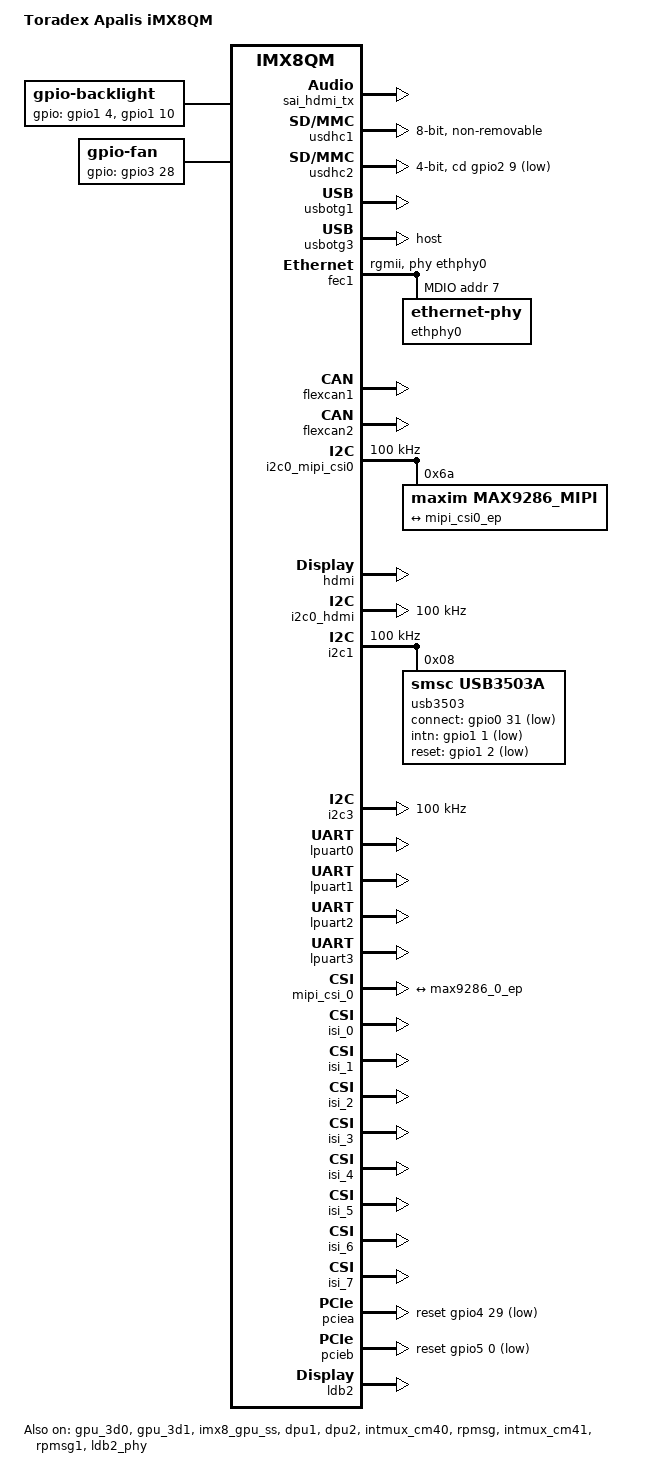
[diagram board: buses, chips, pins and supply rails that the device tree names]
/*
 * Copyright (C) 2016 Freescale Semiconductor, Inc.
 * Copyright 2017 NXP
 *
 * This program is free software; you can redistribute it and/or
 * modify it under the terms of the GNU General Public License
 * as published by the Free Software Foundation; either version 2
 * of the License, or (at your option) any later version.
 *
 * This program is distributed in the hope that it will be useful,
 * but WITHOUT ANY WARRANTY; without even the implied warranty of
 * MERCHANTABILITY or FITNESS FOR A PARTICULAR PURPOSE.  See the
 * GNU General Public License for more details.
 */

/dts-v1/;

#include "fsl-imx8qm.dtsi"

/ {
	model = "Toradex Apalis iMX8QM";
	compatible = "toradex,imx8qm-apalis", "fsl,imx8qm";

	chosen {
		bootargs = "console=ttyLP1,115200 earlycon=lpuart32,0x5a070000,115200";
		stdout-path = &lpuart1;
	};

	backlight: backlight {
		compatible = "gpio-backlight";
		pinctrl-names = "default";
		pinctrl-0 = <&pinctrl_gpio_bl_on>;
		gpios = <&gpio1 4 GPIO_ACTIVE_HIGH>,  /* BKL1_ON */
			<&gpio1 10 GPIO_ACTIVE_HIGH>; /* BKL1_PWM */
		default-on;
		status = "okay";
	};

	reg_usb_host_vbus: regulator-usb-host-vbus {
		compatible = "regulator-fixed";
		pinctrl-names = "default";
		pinctrl-0 = <&pinctrl_usbh_en>;
		regulator-name = "usb_host_vbus";
		regulator-min-microvolt = <5000000>;
		regulator-max-microvolt = <5000000>;
		gpio =  <&gpio4 4 GPIO_ACTIVE_HIGH>;
		enable-active-high;
		regulator-always-on;
		status = "disabled";
	};

	gpio-fan {
		compatible = "gpio-fan";
		pinctrl-names = "default";
		pinctrl-0 = <&pinctrl_gpio8>;
		gpios = <&gpio3 28 GPIO_ACTIVE_HIGH>;
		gpio-fan,speed-map = <	 0 0
				      3000 1>;
	};
};

&sai_hdmi_tx {
	assigned-clocks =<&clk IMX8QM_ACM_HDMI_TX_SAI0_MCLK_SEL>,
			<&clk IMX8QM_AUD_PLL0_DIV>,
			<&clk IMX8QM_AUD_ACM_AUD_PLL_CLK0_DIV>,
			<&clk IMX8QM_AUD_ACM_AUD_REC_CLK0_DIV>,
			<&clk IMX8QM_AUD_SAI_HDMITX0_MCLK>;
	assigned-clock-parents = <&clk IMX8QM_AUD_ACM_AUD_PLL_CLK0_CLK>;
	assigned-clock-rates = <0>, <786432000>, <49152000>, <24576000>, <49152000>;
	fsl,sai-asynchronous;
	status = "okay";
};

&iomuxc {
	imx8qm-apalis {

		pinctrl_fec1: fec1grp {
			fsl,pins = <
				SC_P_ENET0_MDC_CONN_ENET0_MDC			0x06000020
				SC_P_ENET0_MDIO_CONN_ENET0_MDIO			0x06000020
				SC_P_ENET0_RGMII_TX_CTL_CONN_ENET0_RGMII_TX_CTL	0x06000020
				SC_P_ENET0_RGMII_TXC_CONN_ENET0_RGMII_TXC	0x06000020
				SC_P_ENET0_RGMII_TXD0_CONN_ENET0_RGMII_TXD0	0x06000020
				SC_P_ENET0_RGMII_TXD1_CONN_ENET0_RGMII_TXD1	0x06000020
				SC_P_ENET0_RGMII_TXD2_CONN_ENET0_RGMII_TXD2	0x06000020
				SC_P_ENET0_RGMII_TXD3_CONN_ENET0_RGMII_TXD3	0x06000020
				SC_P_ENET0_RGMII_RXC_CONN_ENET0_RGMII_RXC	0x06000020
				SC_P_ENET0_RGMII_RX_CTL_CONN_ENET0_RGMII_RX_CTL	0x06000020
				SC_P_ENET0_RGMII_RXD0_CONN_ENET0_RGMII_RXD0	0x06000020
				SC_P_ENET0_RGMII_RXD1_CONN_ENET0_RGMII_RXD1	0x06000020
				SC_P_ENET0_RGMII_RXD2_CONN_ENET0_RGMII_RXD2	0x06000020
				SC_P_ENET0_RGMII_RXD3_CONN_ENET0_RGMII_RXD3	0x06000020
				SC_P_ENET0_REFCLK_125M_25M_LSIO_GPIO4_IO15	0x00000021
			>;
		};

		pinctrl_gpio_bl_on: gpio-bl-on {
			fsl,pins = <
				SC_P_LVDS0_GPIO00_LSIO_GPIO1_IO04	0x00000021
				SC_P_LVDS1_GPIO00_LSIO_GPIO1_IO10	0x00000021
			>;
		};

		pinctrl_hdmi_lpi2c0: hdmilpi2c0grp {
			fsl,pins = <
				SC_P_HDMI_TX0_TS_SCL_HDMI_TX0_I2C0_SCL  0xc600004c
				SC_P_HDMI_TX0_TS_SDA_HDMI_TX0_I2C0_SDA  0xc600004c
				SC_P_MIPI_CSI1_GPIO0_00_LSIO_GPIO1_IO30 0x00000061
			>;
		};

		pinctrl_mipi0_lpi2c0: mipi0_lpi2c0grp {
			fsl,pins = <
				SC_P_MIPI_DSI0_I2C0_SCL_MIPI_DSI0_I2C0_SCL	0xc600004c
				SC_P_MIPI_DSI0_I2C0_SDA_MIPI_DSI0_I2C0_SDA	0xc600004c
			>;
		};

		pinctrl_mipi1_lpi2c0: mipi1_lpi2c0grp {
			fsl,pins = <
				SC_P_MIPI_DSI1_I2C0_SCL_MIPI_DSI1_I2C0_SCL	0xc600004c
				SC_P_MIPI_DSI1_I2C0_SDA_MIPI_DSI1_I2C0_SDA	0xc600004c
			>;
		};

		pinctrl_mipi_dsi_0_1_en: mipi_dsi_0_1_en {
			fsl,pins = <
				SC_P_LVDS0_I2C0_SDA_LSIO_GPIO1_IO07		0x00000021
			>;
		};

		/* I2C2 DDC */
		pinctrl_lpi2c0: lpi2c0grp {
			fsl,pins = <
				SC_P_HDMI_TX0_TS_SCL_DMA_I2C0_SCL   0xc600004c
				SC_P_HDMI_TX0_TS_SDA_DMA_I2C0_SDA   0xc600004c
			>;
		};

		pinctrl_lpi2c1: lpi2c1grp {
			fsl,pins = <
				SC_P_GPT0_CLK_DMA_I2C1_SCL              0xc600004c
				SC_P_GPT0_CAPTURE_DMA_I2C1_SDA          0xc600004c
			>;
		};

		pinctrl_lpi2c3: lpi2c3grp {
			fsl,pins = <
				SC_P_SIM0_PD_DMA_I2C3_SCL		0xc600004c
				SC_P_SIM0_POWER_EN_DMA_I2C3_SDA		0xc600004c
			>;
		};

		pinctrl_lpuart0: lpuart0grp {
			fsl,pins = <
				SC_P_UART0_RX_DMA_UART0_RX		0x06000020
				SC_P_UART0_TX_DMA_UART0_TX		0x06000020
				SC_P_UART0_RTS_B_DMA_UART0_RTS_B	0x06000020
				SC_P_UART0_CTS_B_DMA_UART0_CTS_B	0x06000020
			>;
		};

		pinctrl_lpuart1: lpuart1grp {
			fsl,pins = <
				SC_P_UART1_RX_DMA_UART1_RX		0x06000020
				SC_P_UART1_TX_DMA_UART1_TX		0x06000020
				SC_P_UART1_CTS_B_DMA_UART1_CTS_B	0x06000020
				SC_P_UART1_RTS_B_DMA_UART1_RTS_B	0x06000020
			>;
		};

		pinctrl_lpuart2: lpuart2grp {
			fsl,pins = <
				SC_P_LVDS0_I2C1_SCL_DMA_UART2_TX	0x06000020
				SC_P_LVDS0_I2C1_SDA_DMA_UART2_RX	0x06000020
			>;
		};

		pinctrl_lpuart3: lpuart3grp {
			fsl,pins = <
				SC_P_LVDS1_I2C1_SCL_DMA_UART3_TX	0x06000020
				SC_P_LVDS1_I2C1_SDA_DMA_UART3_RX	0x06000020
			>;
		};

		pinctrl_usdhc1: usdhc1grp {
			fsl,pins = <
				SC_P_EMMC0_CLK_CONN_EMMC0_CLK		0x06000041
				SC_P_EMMC0_CMD_CONN_EMMC0_CMD		0x00000021
				SC_P_EMMC0_DATA0_CONN_EMMC0_DATA0	0x00000021
				SC_P_EMMC0_DATA1_CONN_EMMC0_DATA1	0x00000021
				SC_P_EMMC0_DATA2_CONN_EMMC0_DATA2	0x00000021
				SC_P_EMMC0_DATA3_CONN_EMMC0_DATA3	0x00000021
				SC_P_EMMC0_DATA4_CONN_EMMC0_DATA4	0x00000021
				SC_P_EMMC0_DATA5_CONN_EMMC0_DATA5	0x00000021
				SC_P_EMMC0_DATA6_CONN_EMMC0_DATA6	0x00000021
				SC_P_EMMC0_DATA7_CONN_EMMC0_DATA7	0x00000021
				SC_P_EMMC0_STROBE_CONN_EMMC0_STROBE	0x06000041
				SC_P_EMMC0_RESET_B_CONN_EMMC0_RESET_B	0x00000021
			>;
		};

		pinctrl_usdhc1_100mhz: usdhc1grp100mhz {
			fsl,pins = <
				SC_P_EMMC0_CLK_CONN_EMMC0_CLK		0x06000040
				SC_P_EMMC0_CMD_CONN_EMMC0_CMD		0x00000020
				SC_P_EMMC0_DATA0_CONN_EMMC0_DATA0	0x00000020
				SC_P_EMMC0_DATA1_CONN_EMMC0_DATA1	0x00000020
				SC_P_EMMC0_DATA2_CONN_EMMC0_DATA2	0x00000020
				SC_P_EMMC0_DATA3_CONN_EMMC0_DATA3	0x00000020
				SC_P_EMMC0_DATA4_CONN_EMMC0_DATA4	0x00000020
				SC_P_EMMC0_DATA5_CONN_EMMC0_DATA5	0x00000020
				SC_P_EMMC0_DATA6_CONN_EMMC0_DATA6	0x00000020
				SC_P_EMMC0_DATA7_CONN_EMMC0_DATA7	0x00000020
				SC_P_EMMC0_STROBE_CONN_EMMC0_STROBE	0x06000040
				SC_P_EMMC0_RESET_B_CONN_EMMC0_RESET_B	0x00000020
			>;
		};

		pinctrl_usdhc1_200mhz: usdhc1grp200mhz {
			fsl,pins = <
				SC_P_EMMC0_CLK_CONN_EMMC0_CLK		0x06000040
				SC_P_EMMC0_CMD_CONN_EMMC0_CMD		0x00000020
				SC_P_EMMC0_DATA0_CONN_EMMC0_DATA0	0x00000020
				SC_P_EMMC0_DATA1_CONN_EMMC0_DATA1	0x00000020
				SC_P_EMMC0_DATA2_CONN_EMMC0_DATA2	0x00000020
				SC_P_EMMC0_DATA3_CONN_EMMC0_DATA3	0x00000020
				SC_P_EMMC0_DATA4_CONN_EMMC0_DATA4	0x00000020
				SC_P_EMMC0_DATA5_CONN_EMMC0_DATA5	0x00000020
				SC_P_EMMC0_DATA6_CONN_EMMC0_DATA6	0x00000020
				SC_P_EMMC0_DATA7_CONN_EMMC0_DATA7	0x00000020
				SC_P_EMMC0_STROBE_CONN_EMMC0_STROBE	0x06000040
				SC_P_EMMC0_RESET_B_CONN_EMMC0_RESET_B	0x00000020
			>;
		};

		pinctrl_usdhc2_gpio: usdhc2grpgpio {
			fsl,pins = <
				SC_P_ESAI1_TX1_LSIO_GPIO2_IO09		0x00000021
			>;
		};

		pinctrl_usdhc2: usdhc2grp {
			fsl,pins = <
				SC_P_USDHC1_CLK_CONN_USDHC1_CLK		0x06000041
				SC_P_USDHC1_CMD_CONN_USDHC1_CMD		0x00000021
				SC_P_USDHC1_DATA0_CONN_USDHC1_DATA0	0x00000021
				SC_P_USDHC1_DATA1_CONN_USDHC1_DATA1	0x00000021
				SC_P_USDHC1_DATA2_CONN_USDHC1_DATA2	0x00000021
				SC_P_USDHC1_DATA3_CONN_USDHC1_DATA3	0x00000021
				SC_P_USDHC1_DATA4_CONN_USDHC1_DATA4	0x00000021
				SC_P_USDHC1_DATA5_CONN_USDHC1_DATA5	0x00000021
				SC_P_USDHC1_DATA6_CONN_USDHC1_DATA6	0x00000021
				SC_P_USDHC1_DATA7_CONN_USDHC1_DATA7	0x00000021

				SC_P_USDHC1_VSELECT_CONN_USDHC1_VSELECT	0x00000021
			>;
		};

		pinctrl_usdhc2_100mhz: usdhc2grp100mhz {
			fsl,pins = <
				SC_P_USDHC1_CLK_CONN_USDHC1_CLK		0x06000040
				SC_P_USDHC1_CMD_CONN_USDHC1_CMD		0x00000020
				SC_P_USDHC1_DATA0_CONN_USDHC1_DATA0	0x00000020
				SC_P_USDHC1_DATA1_CONN_USDHC1_DATA1	0x00000020
				SC_P_USDHC1_DATA2_CONN_USDHC1_DATA2	0x00000020
				SC_P_USDHC1_DATA3_CONN_USDHC1_DATA3	0x00000020
				SC_P_USDHC1_DATA4_CONN_USDHC1_DATA4	0x00000020
				SC_P_USDHC1_DATA5_CONN_USDHC1_DATA5	0x00000020
				SC_P_USDHC1_DATA6_CONN_USDHC1_DATA6	0x00000020
				SC_P_USDHC1_DATA7_CONN_USDHC1_DATA7	0x00000020
				SC_P_USDHC1_VSELECT_CONN_USDHC1_VSELECT	0x00000020
			>;
		};

		pinctrl_usdhc2_200mhz: usdhc2grp200mhz {
			fsl,pins = <
				SC_P_USDHC1_CLK_CONN_USDHC1_CLK		0x06000040
				SC_P_USDHC1_CMD_CONN_USDHC1_CMD		0x00000020
				SC_P_USDHC1_DATA0_CONN_USDHC1_DATA0	0x00000020
				SC_P_USDHC1_DATA1_CONN_USDHC1_DATA1	0x00000020
				SC_P_USDHC1_DATA2_CONN_USDHC1_DATA2	0x00000020
				SC_P_USDHC1_DATA3_CONN_USDHC1_DATA3	0x00000020
				SC_P_USDHC1_DATA4_CONN_USDHC1_DATA4	0x00000020
				SC_P_USDHC1_DATA5_CONN_USDHC1_DATA5	0x00000020
				SC_P_USDHC1_DATA6_CONN_USDHC1_DATA6	0x00000020
				SC_P_USDHC1_DATA7_CONN_USDHC1_DATA7	0x00000020
				SC_P_USDHC1_VSELECT_CONN_USDHC1_VSELECT	0x00000020
			>;
		};

		pinctrl_flexcan1: flexcan0grp {
			fsl,pins = <
				SC_P_FLEXCAN0_TX_DMA_FLEXCAN0_TX	0x21
				SC_P_FLEXCAN0_RX_DMA_FLEXCAN0_RX	0x21
			>;
		};

		pinctrl_flexcan2: flexcan1grp {
			fsl,pins = <
				SC_P_FLEXCAN1_TX_DMA_FLEXCAN1_TX	0x21
				SC_P_FLEXCAN1_RX_DMA_FLEXCAN1_RX	0x21
			>;
		};

		pinctrl_pciea: pcieagrp{
			fsl,pins = <
				SC_P_PCIE_CTRL0_CLKREQ_B_LSIO_GPIO4_IO27	0x00000021
				SC_P_PCIE_CTRL0_WAKE_B_LSIO_GPIO4_IO28		0x00000021
				SC_P_PCIE_CTRL0_PERST_B_LSIO_GPIO4_IO29		0x00000021
			>;
		};

		pinctrl_pcieb: pciebgrp{
			fsl,pins = <
				SC_P_PCIE_CTRL1_CLKREQ_B_LSIO_GPIO4_IO30	0x00000021
				SC_P_PCIE_CTRL1_WAKE_B_LSIO_GPIO4_IO31		0x00000021
				SC_P_PCIE_CTRL1_PERST_B_LSIO_GPIO5_IO00		0x00000021
			>;
		};

		pinctrl_usbotg1: usbotg1 {
			fsl,pins = <
				SC_P_USB_SS3_TC0_CONN_USB_OTG1_PWR		0x00000021
			>;
		};

		pinctrl_usbh_en: usbhen {
			fsl,pins = <
				SC_P_USB_SS3_TC1_LSIO_GPIO4_IO04		0x00000021
			>;
		};

		pinctrl_gpio8: gpio8 {
			fsl,pins = <
				SC_P_MLB_DATA_LSIO_GPIO3_IO28			0x00000021
			>;
		};

		pinctrl_usb3503a: usb3503agrp {
			fsl,pins = <
				SC_P_SCU_GPIO0_03_LSIO_GPIO0_IO31               0x00000021
				SC_P_SCU_GPIO0_05_LSIO_GPIO1_IO01		0x00000021
				SC_P_SCU_GPIO0_06_LSIO_GPIO1_IO02               0x00000021
			>;
		};
	};
};

&gpio2 {
	status = "okay";
};

&gpio5 {
	status = "okay";
};

&usdhc1 {
	pinctrl-names = "default", "state_100mhz", "state_200mhz";
	pinctrl-0 = <&pinctrl_usdhc1>;
	pinctrl-1 = <&pinctrl_usdhc1_100mhz>;
	pinctrl-2 = <&pinctrl_usdhc1_200mhz>;
	bus-width = <8>;
	non-removable;
	status = "okay";
};

&usdhc2 {
	pinctrl-names = "default", "state_100mhz", "state_200mhz";
	pinctrl-0 = <&pinctrl_usdhc2>, <&pinctrl_usdhc2_gpio>;
	pinctrl-1 = <&pinctrl_usdhc2_100mhz>, <&pinctrl_usdhc2_gpio>;
	pinctrl-2 = <&pinctrl_usdhc2_200mhz>, <&pinctrl_usdhc2_gpio>;
	bus-width = <4>;
	cd-gpios = <&gpio2 9 GPIO_ACTIVE_LOW>;
	status = "okay";
};

&usbotg1 {
	pinctrl-names = "default";
	pinctrl-0 = <&pinctrl_usbotg1>;
	srp-disable;
	hnp-disable;
	adp-disable;
	power-polarity-active-high;
	disable-over-current;
	status = "okay";
};

&usbotg3 {
	dr_mode = "host";
	status = "okay";
};

&fec1 {
	pinctrl-names = "default";
	pinctrl-0 = <&pinctrl_fec1>;
	phy-mode = "rgmii";
	phy-handle = <&ethphy0>;
	fsl,magic-packet;
	fsl,rgmii_txc_dly;
	fsl,rgmii_rxc_dly;
	status = "okay";

	mdio {
		#address-cells = <1>;
		#size-cells = <0>;

		ethphy0: ethernet-phy@7 {
			reg = <7>;
		};
	};
};

&flexcan1 {
	pinctrl-names = "default";
	pinctrl-0 = <&pinctrl_flexcan1>;
	/*xceiver-supply = <&reg_can_stby>;*/
	status = "okay";
};

&flexcan2 {
	pinctrl-names = "default";
	pinctrl-0 = <&pinctrl_flexcan2>;
	/*xceiver-supply = <&reg_can_stby>;*/
	status = "okay";
};

&i2c0_mipi_csi0 {
	#address-cells = <1>;
	#size-cells = <0>;
	pinctrl-names = "default";
	clock-frequency = <100000>;
	status = "okay";

	max9286_mipi@6A	 {
		compatible = "maxim,max9286_mipi";
		reg = <0x6A>;
		clocks = <&clk IMX8QM_CLK_DUMMY>;
		clock-names = "capture_mclk";
		mclk = <27000000>;
		mclk_source = <0>;
		virtual-channel;
		port {
			max9286_0_ep: endpoint {
			remote-endpoint = <&mipi_csi0_ep>;
			data-lanes = <1 2 3 4>;
			};
		};
	};
};

&i2c0_mipi_csi1 {
	#address-cells = <1>;
	#size-cells = <0>;
	pinctrl-names = "default";
	clock-frequency = <100000>;
	status = "disabled";

	max9286_mipi@6A	 {
		compatible = "maxim,max9286_mipi";
		reg = <0x6A>;
		clocks = <&clk IMX8QM_CLK_DUMMY>;
		clock-names = "capture_mclk";
		mclk = <27000000>;
		mclk_source = <0>;
		virtual-channel;
		port {
			max9286_1_ep: endpoint {
			remote-endpoint = <&mipi_csi1_ep>;
			data-lanes = <1 2 3 4>;
			};
		};
	};
};

&hdmi {
	compatible = "fsl,imx8qm-hdmi";
	status = "okay";
};

&i2c0_hdmi {
	#address-cells = <1>;
	#size-cells = <0>;
	pinctrl-names = "default";
	pinctrl-0 = <&pinctrl_hdmi_lpi2c0>;
	clock-frequency = <100000>;
	status = "okay";
};
/*
&i2c0 {
	#address-cells = <1>;
	#size-cells = <0>;
	pinctrl-names = "default";
	pinctrl-0 = <&pinctrl_lpi2c0>;
	clock-frequency = <100000>;
	status = "okay";
};
*/
&i2c1 {
	#address-cells = <1>;
	#size-cells = <0>;
	clock-frequency = <100000>;
	pinctrl-names = "default";
	pinctrl-0 = <&pinctrl_lpi2c1>;
	status = "okay";

	/* SGTL5000 */
	/* USB3503A */
	usb3503@08 {
		compatible = "smsc,usb3503a";
		pinctrl-names = "default";
		pinctrl-0 = <&pinctrl_usb3503a>;
		reg = <0x08>;
		refclk-frequency = <25000000>;
		connect-gpios = <&gpio0 31 GPIO_ACTIVE_LOW>;
		intn-gpios = <&gpio1 1 GPIO_ACTIVE_LOW>;
		reset-gpios = <&gpio1 2 GPIO_ACTIVE_LOW>;
		initial-mode = <1>;
	};
};

&i2c3 {
	#address-cells = <1>;
	#size-cells = <0>;
	clock-frequency = <100000>;
	pinctrl-names = "default";
	pinctrl-0 = <&pinctrl_lpi2c3>;
	status = "okay";
/*
	ov5640_mipi@3c {
		compatible = "ovti,ov564x_mipi";
		reg = <0x3c>;
		clocks = <&clks 147>;
		clock-names = "csi_mclk";
		DOVDD-supply = <&reg_1p8v>;
		AVDD-supply = <&reg_2p5v>;
		DVDD-supply = <&reg_1p8v>;
		pwn-gpios = <&gpio2 5 GPIO_ACTIVE_HIGH>;
		rst-gpios = <&gpio2 4 GPIO_ACTIVE_LOW>;
		ipu_id = <0>;
		csi_id = <1>;
		mclk = <22000000>;
		mclk_source = <0>;
		pwms = <&pwm3 0 45 0>;
		status = "okay";
	};
*/
};

/* Apalis UART3 */
&lpuart0 {
	pinctrl-names = "default";
	pinctrl-0 = <&pinctrl_lpuart0>;
	status = "okay";
};

/* Apalis UART1 */
&lpuart1 {
	pinctrl-names = "default";
	pinctrl-0 = <&pinctrl_lpuart1>;
	/* DMA seems not to work when using LPUART as console */
	/delete-property/ dma-names;
	status = "okay";
};

/* Apalis UART4 */
&lpuart2 {
	pinctrl-names = "default";
	pinctrl-0 = <&pinctrl_lpuart2>;
	status = "okay";
};

/* Apalis UART2 */
&lpuart3 {
	pinctrl-names = "default";
	pinctrl-0 = <&pinctrl_lpuart3>;
	status = "okay";
};

&mipi_csi_0 {
	#address-cells = <1>;
	#size-cells = <0>;
	virtual-channel;
	status = "okay";

	/* Camera 0  MIPI CSI-2 (CSIS0) */
	port@0 {
		reg = <0>;
		mipi_csi0_ep: endpoint {
			remote-endpoint = <&max9286_0_ep>;
			data-lanes = <1 2 3 4>;
		};
	};
};

&mipi_csi_1 {
	#address-cells = <1>;
	#size-cells = <0>;
	virtual-channel;
	status = "disabled";

	/* Camera 0 MIPI CSI-2 (CSIS1) */
	port@1 {
		reg = <1>;
		mipi_csi1_ep: endpoint {
			remote-endpoint = <&max9286_1_ep>;
			data-lanes = <1 2 3 4>;
		};
	};
};


&isi_0 {
	status = "okay";
};

&isi_1 {
	status = "okay";
};

&isi_2 {
	status = "okay";
};

&isi_3 {
	status = "okay";
};

&isi_4 {
	status = "okay";
};

&isi_5 {
	status = "okay";
};

&isi_6 {
	status = "okay";
};

&isi_7 {
	status = "okay";
};

&gpu_3d0 {
	status = "okay";
};

&gpu_3d1 {
	status = "okay";
};

&imx8_gpu_ss {
	status = "okay";
};

&dpu1 {
	status = "okay";
};

&dpu2 {
	status = "okay";
};

&pciea{
	ext_osc = <1>;
	pinctrl-names = "default";
	pinctrl-0 = <&pinctrl_pciea>;
	reset-gpio = <&gpio4 29 GPIO_ACTIVE_LOW>;
	status = "okay";
};

&pcieb{
	ext_osc = <1>;
	pinctrl-names = "default";
	pinctrl-0 = <&pinctrl_pcieb>;
	reset-gpio = <&gpio5 0 GPIO_ACTIVE_LOW>;
	/*epdev_on-supply = <&epdev_on>;*/
	status = "okay";
};

&intmux_cm40 {
	status = "okay";
};

&rpmsg{
	/*
	 * 64K for one rpmsg instance:
	 * --0xb8000000~0xb800ffff: pingpong
	 */
	vdev-nums = <1>;
	reg = <0x0 0xb8000000 0x0 0x10000>;
	status = "okay";
};

&intmux_cm41 {
	status = "okay";
};

&rpmsg1{
	/*
	 * 64K for one rpmsg instance:
	 * --0xb8100000~0xb810ffff: pingpong
	 */
	vdev-nums = <1>;
	reg = <0x0 0xb8100000 0x0 0x10000>;
	status = "okay";
};

&ldb2_phy {
	status = "okay";
};

&ldb2 {
	status = "okay";
	fsl,dual-channel;

	lvds-channel@0 {
		fsl,data-mapping = "spwg";
		fsl,data-width = <18>;
		status = "okay";
		primary;

		display-timings {
			native-mode = <&timing_fullhd>;
			timing_fullhd: 1920x1080 {
				clock-frequency = <138500000>;
				hactive = <1920>;
				vactive = <1080>;
				hback-porch = <80>;
				hfront-porch = <48>;
				vback-porch = <23>;
				vfront-porch = <3>;
				hsync-len = <32>;
				vsync-len = <5>;
				hsync-active = <0>;
				vsync-active = <0>;
				pixelclk-active = <0>;
			};
		};
	};
};

